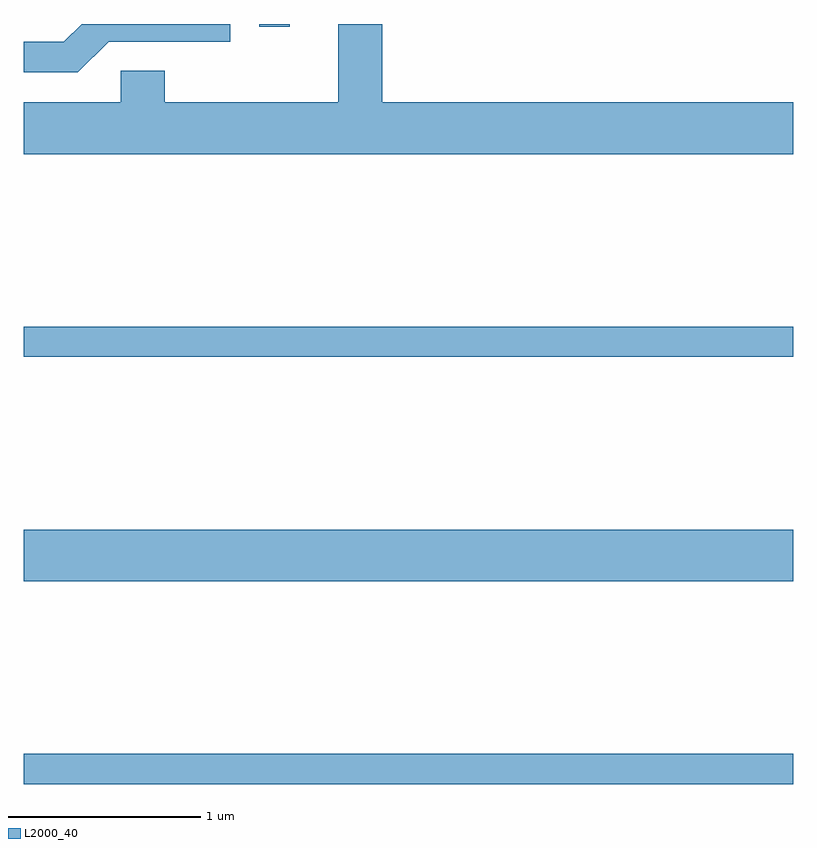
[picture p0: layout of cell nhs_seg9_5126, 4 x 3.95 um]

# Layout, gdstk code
import gdstk
lib = gdstk.Library(unit=1e-6, precision=1e-09)
def R(c, l, rs):  # rectangles x0, y0, x1, y1
    for r in rs: c.add(gdstk.rectangle(r[:2], r[2:], *l))
def P(c, l, *ps):  # polygons
    for p in ps: c.add(gdstk.Polygon(p, *l))
L2000_40 = (2000, 40)

nhs_seg9_5126 = lib.new_cell('nhs_seg9_5126')
R(nhs_seg9_5126, L2000_40, [(335.611,2048.481,339.611,2048.639), (335.611,2049.536,339.611,2049.804), (335.611,2050.701,339.611,2050.859), (336.836,2052.418,336.994,2052.432)])
P(nhs_seg9_5126, L2000_40, [(339.611,2052.024),(337.474,2052.024),(337.474,2052.432),(337.246,2052.432),(337.246,2052.024),(336.344,2052.024),(336.344,2052.189),(336.116,2052.189),(336.116,2052.024),(335.611,2052.024),(335.611,2051.756),(339.611,2051.756)],
  [(336.052,2052.341),(336.684,2052.341),(336.684,2052.432),(335.912,2052.432),(335.819,2052.339),(335.611,2052.339),(335.611,2052.181),(335.892,2052.181)])

lib.write_gds('nhs_seg9_5126.gds')
